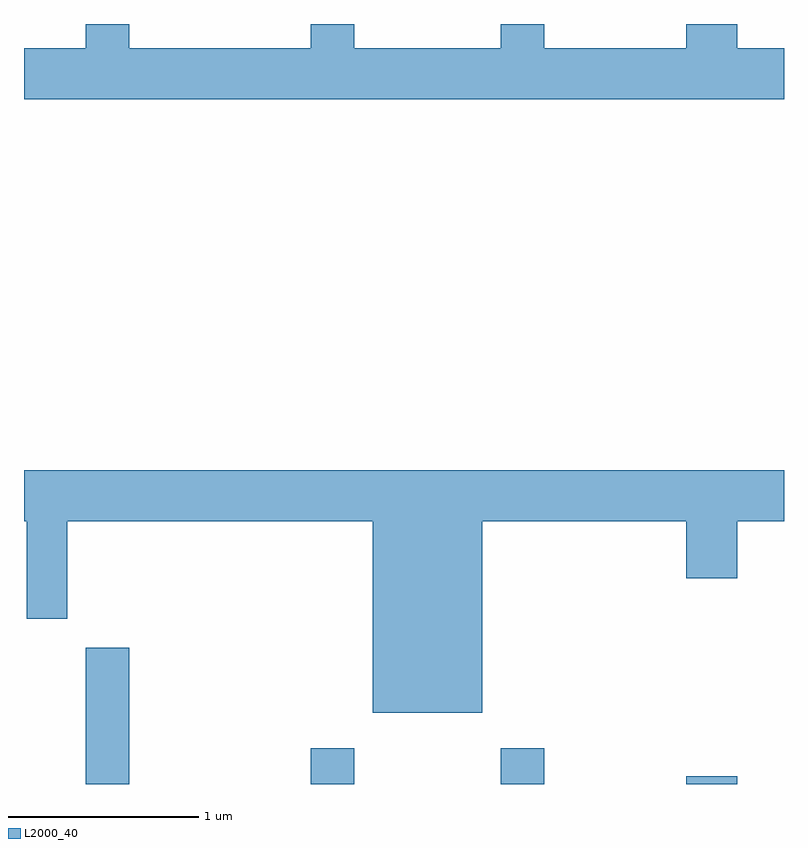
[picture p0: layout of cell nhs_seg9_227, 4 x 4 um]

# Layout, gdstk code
import gdstk
lib = gdstk.Library(unit=1e-6, precision=1e-09)
def R(c, l, rs):  # rectangles x0, y0, x1, y1
    for r in rs: c.add(gdstk.rectangle(r[:2], r[2:], *l))
def P(c, l, *ps):  # polygons
    for p in ps: c.add(gdstk.Polygon(p, *l))
L2000_40 = (2000, 40)

nhs_seg9_227 = lib.new_cell('nhs_seg9_227')
R(nhs_seg9_227, L2000_40, [(191.936,1990.432,192.164,1991.149), (193.121,1990.432,193.349,1990.619), (194.121,1990.432,194.349,1990.619), (195.096,1990.432,195.364,1990.474)])
P(nhs_seg9_227, L2000_40, [(195.611,1994.304),(195.364,1994.304),(195.364,1994.432),(195.096,1994.432),(195.096,1994.304),(194.349,1994.304),(194.349,1994.432),(194.121,1994.432),(194.121,1994.304),(193.349,1994.304),(193.349,1994.432),(193.121,1994.432),(193.121,1994.304),(192.164,1994.304),(192.164,1994.432),(191.936,1994.432),(191.936,1994.304),(191.611,1994.304),(191.611,1994.036),(195.611,1994.036)],
  [(194.024,1991.816),(195.096,1991.816),(195.096,1991.516),(195.364,1991.516),(195.364,1991.816),(195.611,1991.816),(195.611,1992.084),(191.611,1992.084),(191.611,1991.816),(191.626,1991.816),(191.626,1991.301),(191.839,1991.301),(191.839,1991.816),(193.446,1991.816),(193.446,1990.806),(194.024,1990.806)])

lib.write_gds('nhs_seg9_227.gds')
